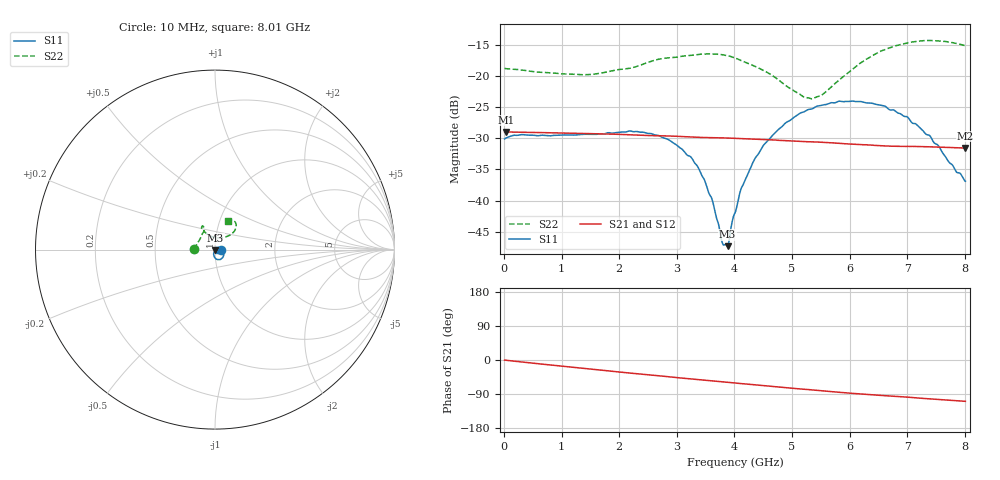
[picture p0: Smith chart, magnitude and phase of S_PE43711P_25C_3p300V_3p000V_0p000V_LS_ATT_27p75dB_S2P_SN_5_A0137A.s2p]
! Device ID: PE43711P
! File Path: z:\PE43711P\CHAR_NOM_04282014\AMB\3p300\LS_ATT_27p75dB\PE43711P_AMB_3p300V_3p000V_0p000V_LS_ATT_27p75dB_S2P_SN_5_A0137A.s2p
! Serial: 5
! Lot: A0137A
! Temp: 25C
! VDD: 3.300
! VSS: 0.000
! Control_Hi: 3.000
! Control_Lo: 0.000
! Attenuation Step: 27.75dB
! Port 1: RF1
! Port 2: RF2
! ThroughPath:1-2
! IDD: 0.0001279497
! ISS: -8.72e-008
#  Hz  S  RI  R  50
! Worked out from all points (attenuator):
!   801 points, 10 MHz to 8.01 GHz, reference 50 ohm
!   highest |S21| = -29.01 dB at 30 MHz (marker M1); lowest = -31.6 dB at 8.01 GHz (marker M2)
!   lowest |S11| = -47.3 dB at 3.88 GHz (marker M3), VSWR 1.01, Z = 50.2 - j0.397 ohm
!   |S11| at or under -10 dB: start of sweep to end of sweep
!   |S22| runs from -23.7 to -14.4 dB; largest |S21 - S12| = 0.00011
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1e7  0.0311 0.00043  0.0354 -0.000138  0.0355 -0.00015  -0.1145 0.000924
3e7  0.0316 0.000658  0.0355 -0.000321  0.0355 -0.000313  -0.1139 0.00197
1.35e9  0.0338 -0.00117  0.0321 -0.0127  0.0321 -0.0127  -0.0873 0.0523
2.19e9  0.036 0.00114  0.0277 -0.0191  0.0277 -0.0191  -0.0658 0.0943
2.68e9  0.033 0.0044  0.0247 -0.0219  0.0247 -0.0219  -0.0629 0.1199
3.06e9  0.0257 0.0057  0.0221 -0.024  0.0221 -0.024  -0.064 0.1275
3.36e9  0.0182 0.00475  0.02 -0.0251  0.02 -0.0251  -0.0667 0.1317
3.61e9  0.0102 0.0012  0.0184 -0.026  0.0184 -0.0261  -0.0712 0.1309
3.79e9  0.00409 -0.00207  0.0171 -0.0268  0.0171 -0.0268  -0.074 0.1274
3.88e9  0.00172 -0.00395  0.0164 -0.0271  0.0164 -0.0271  -0.0743 0.1239
4.01e9  -0.00137 -0.00783  0.0154 -0.0275  0.0154 -0.0275  -0.0737 0.1175
4.15e9  -0.00397 -0.0128  0.0143 -0.0278  0.0143 -0.0278  -0.0694 0.1103
4.34e9  -0.00703 -0.0198  0.013 -0.0282  0.013 -0.0282  -0.0622 0.1024
4.51e9  -0.00741 -0.0269  0.0117 -0.0285  0.0117 -0.0285  -0.0545 0.0955
4.9e9  -0.00287 -0.0421  0.00875 -0.0289  0.00872 -0.0289  -0.0299 0.0772
5.35e9  0.0102 -0.0533  0.00565 -0.029  0.00566 -0.029  0.0104 0.0645
5.54e9  0.018 -0.0555  0.00432 -0.0289  0.00431 -0.0289  0.0307 0.0643
6.05e9  0.0378 -0.05  0.000973 -0.0283  0.000937 -0.0283  0.0807 0.0791
6.68e9  0.0473 -0.0256  -0.0023 -0.0272  -0.00227 -0.0272  0.1156 0.1199
7e9  0.0447 -0.0141  -0.00379 -0.0269  -0.00377 -0.0269  0.1179 0.1397
7.39e9  0.033 -0.00283  -0.00588 -0.0262  -0.00582 -0.0263  0.1059 0.1597
8.01e9  0.0142 -0.00144  -0.00861 -0.0249  -0.00865 -0.0249  0.0727 0.1578
